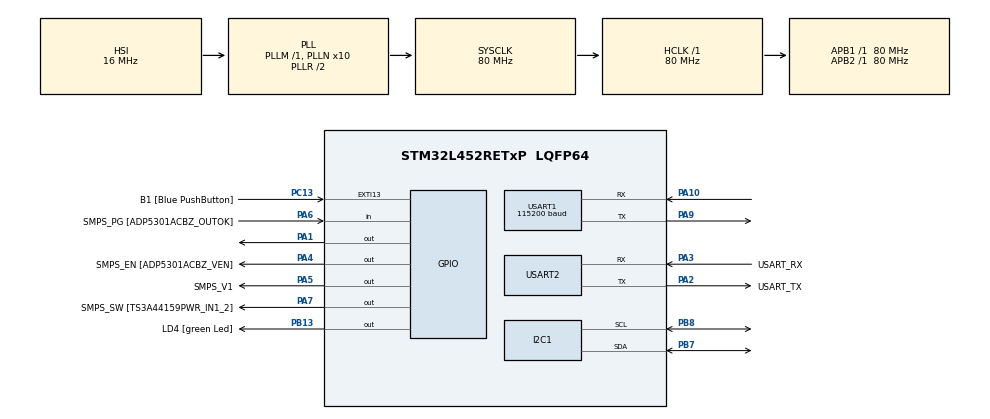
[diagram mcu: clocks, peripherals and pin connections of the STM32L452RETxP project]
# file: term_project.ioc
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I2C1.Timing=0x10909CEC
Mcu.Family=STM32L4
Mcu.Name=STM32L452RETxP
Mcu.Package=LQFP64
NVIC.EXTI15_10_IRQn=true\:0\:0\:false\:false\:true\:true\:true\:true
NVIC.PriorityGroup=NVIC_PRIORITYGROUP_4
NVIC.RCC_IRQn=true\:0\:0\:false\:false\:true\:true\:false\:true
NVIC.TIM1_UP_TIM16_IRQn=true\:0\:0\:false\:false\:true\:true\:true\:true
NVIC.USART1_IRQn=true\:0\:0\:false\:false\:true\:true\:true\:true
NVIC.USART2_IRQn=true\:0\:0\:false\:false\:true\:true\:true\:true
PA1.Signal=GPIO_Output
PA10.GPIO_Speed=GPIO_SPEED_FREQ_HIGH
PA10.Mode=Asynchronous
PA10.Signal=USART1_RX
PA13\ (JTMS/SWDIO).GPIO_Label=TMS
PA13\ (JTMS/SWDIO).Mode=Serial_Wire
PA13\ (JTMS/SWDIO).Signal=SYS_JTMS-SWDIO
PA14\ (JTCK/SWCLK).GPIO_Label=TCK
PA14\ (JTCK/SWCLK).Mode=Serial_Wire
PA14\ (JTCK/SWCLK).Signal=SYS_JTCK-SWCLK
PA2.GPIO_Label=USART_TX
PA2.GPIO_Mode=GPIO_MODE_AF_PP
PA2.GPIO_PuPd=GPIO_NOPULL
PA2.GPIO_Speed=GPIO_SPEED_FREQ_VERY_HIGH
PA2.Mode=Asynchronous
PA2.Signal=USART2_TX
PA3.GPIO_Label=USART_RX
PA3.GPIO_Mode=GPIO_MODE_AF_PP
PA3.GPIO_PuPd=GPIO_NOPULL
PA3.GPIO_Speed=GPIO_SPEED_FREQ_VERY_HIGH
PA3.Mode=Asynchronous
PA3.Signal=USART2_RX
PA4.GPIO_Label=SMPS_EN [ADP5301ACBZ_VEN]
PA4.Signal=GPIO_Output
PA5.GPIO_Label=SMPS_V1
PA5.GPIO_ModeDefaultOutputPP=GPIO_MODE_OUTPUT_PP
PA5.GPIO_PuPd=GPIO_NOPULL
PA5.GPIO_Speed=GPIO_SPEED_FREQ_LOW
PA5.Signal=GPIO_Output
PA6.GPIO_Label=SMPS_PG [ADP5301ACBZ_OUTOK]
PA6.GPIO_PuPd=GPIO_PULLUP
PA6.Signal=GPIO_Input
PA7.GPIO_Label=SMPS_SW [TS3A44159PWR_IN1_2]
PA7.Signal=GPIO_Output
PA9.GPIO_Speed=GPIO_SPEED_FREQ_HIGH
PA9.Mode=Asynchronous
PA9.Signal=USART1_TX
PB13.GPIO_Label=LD4 [green Led]
PB13.Signal=GPIO_Output
PB3\ (JTDO/TRACESWO).GPIO_Label=SWO
PB3\ (JTDO/TRACESWO).Signal=SYS_JTDO-SWO
PB7.GPIO_Pu=GPIO_PULLUP
PB7.GPIO_Speed=GPIO_SPEED_FREQ_MEDIUM
PB7.Mode=I2C
PB7.Signal=I2C1_SDA
PB8.GPIO_Pu=GPIO_PULLUP
PB8.GPIO_Speed=GPIO_SPEED_FREQ_MEDIUM
PB8.Mode=I2C
PB8.Signal=I2C1_SCL
PC13.GPIO_Label=B1 [Blue PushButton]
PC13.GPIO_ModeDefaultEXTI=GPIO_MODE_IT_FALLING
PC13.GPIO_PuPd=GPIO_NOPULL
PC13.Signal=GPXTI13
PC14-OSC32_IN\ (PC14).Mode=LSE-External-Oscillator
PC14-OSC32_IN\ (PC14).Signal=RCC_OSC32_IN
PC15-OSC32_OUT\ (PC15).Mode=LSE-External-Oscillator
PC15-OSC32_OUT\ (PC15).Signal=RCC_OSC32_OUT
PH0-OSC_IN\ (PH0).GPIO_Label=MCO
PH0-OSC_IN\ (PH0).Mode=HSE-External-Oscillator
PH0-OSC_IN\ (PH0).Signal=RCC_OSC_IN
PH1-OSC_OUT\ (PH1).Mode=HSE-External-Oscillator
PH1-OSC_OUT\ (PH1).Signal=RCC_OSC_OUT
ProjectManager.HeapSize=0x200
ProjectManager.StackSize=0x400
ProjectManager.TargetToolchain=STM32CubeIDE
RCC.ADCFreq_Value=64000000
RCC.AHBFreq_Value=80000000
RCC.APB1Freq_Value=80000000
RCC.APB1TimFreq_Value=80000000
RCC.APB2Freq_Value=80000000
RCC.APB2TimFreq_Value=80000000
RCC.CortexFreq_Value=80000000
RCC.HCLKFreq_Value=80000000
RCC.HSE_VALUE=8000000
RCC.HSI48_VALUE=48000000
RCC.HSI_VALUE=16000000
RCC.MSI_VALUE=4000000
RCC.PLLN=10
RCC.PLLSourceVirtual=RCC_PLLSOURCE_HSI
RCC.SYSCLKFreq_VALUE=80000000
RCC.SYSCLKSource=RCC_SYSCLKSOURCE_PLLCLK
RCC.USBFreq_Value=64000000
RCC.VCOOutputFreq_Value=160000000
TIM16.AutoReloadPreload=TIM_AUTORELOAD_PRELOAD_DISABLE
TIM16.Period=65536-1
TIM16.Prescaler=80-1
USART1.BaudRate=115200
USART1.VirtualMode-Asynchronous=VM_ASYNC
USART2.VirtualMode-Asynchronous=VM_ASYNC
VP_TIM16_VS_ClockSourceINT.Mode=Enable_Timer
board=NUCLEO-L452RE-P

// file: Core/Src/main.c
/* USER CODE BEGIN Header */
/**
  ******************************************************************************
  * @file           : main.c
  * @brief          : Main program body
  ******************************************************************************
  * @attention
  *
  * Copyright (c) 2023 STMicroelectronics.
  * All rights reserved.
  *
  * This software is licensed under terms that can be found in the LICENSE file
  * in the root directory of this software component.
  * If no LICENSE file comes with this software, it is provided AS-IS.
  *
  ******************************************************************************
  */
/* USER CODE END Header */
#include "main.h"

/* USER CODE BEGIN Includes */
#include <stdio.h>
#include <string.h>

#include "Timing.h"
#include "DS18B20.h"

#include "i2c_scanner.h"
#include "LCD16x2.h"
//#include "OneWire.h"
//#include "lwow/lwow.h"
/* USER CODE END Includes */

I2C_HandleTypeDef hi2c1;

TIM_HandleTypeDef htim16;

UART_HandleTypeDef huart1;
UART_HandleTypeDef huart2;

/* USER CODE BEGIN PV */
volatile uint8_t txbuf[16] = {0};
volatile uint8_t temperature_buf[6] = {0};
uint8_t newline[6] = {0};
volatile uint8_t rxbuf[4] = {0};
/* USER CODE END PV */

void SystemClock_Config(void);
static void MX_GPIO_Init(void);
static void MX_USART1_UART_Init(void);
static void MX_USART2_UART_Init(void);
static void MX_TIM16_Init(void);
static void MX_I2C1_Init(void);
/* USER CODE BEGIN PFP */
/*#ifdef __GNUC__
#define PUTCHAR_PROTOTYPE int __io_putchar(int ch)
#else
#define PUTCHAR_PROTOTYPE int fputc(int ch, FILE *f)
#endif

PUTCHAR_PROTOTYPE
{
  HAL_UART_Transmit(&huart2, (uint8_t *)&ch, 1, HAL_MAX_DELAY);
  return ch;
}*/

/* USER CODE END PFP */

/* USER CODE BEGIN 0 */
//extern float Temp[MAXDEVICES_ON_THE_BUS];
/* USER CODE END 0 */

int main(void)
{
  /* USER CODE BEGIN 1 */
	//uint16_t timer_val;
	unsigned int sec = 0;
  /* USER CODE END 1 */

  /* MCU Configuration--------------------------------------------------------*/

  /* Reset of all peripherals, Initializes the Flash interface and the Systick. */
  HAL_Init();

  /* Configure the system clock */
  SystemClock_Config();

  /* Initialize all configured peripherals */
  MX_GPIO_Init();
  MX_USART1_UART_Init();
  MX_USART2_UART_Init();
  MX_TIM16_Init();
  MX_I2C1_Init();
  /* USER CODE BEGIN 2 */

  // Start Timer
  //HAL_TIM_Base_Start_IT(&htim16);
  //HAL_TIM_Base_Start(&htim16);	// without interrupt

  // Get current time (microsecs)
  //timer_val = __HAL_TIM_GET_COUNTER(&htim16);

  TIMER timer;
  DS18B20 sensor;

  TIMER_Init(&timer, &htim16);
  DS18B20_Init(&sensor, &timer);

  int Status = 0;
  Status = scan_i2c(&huart2, &hi2c1);
  printf("Status=%d\r\n", Status);

  if (Status) {
	  lcd_init(&hi2c1);		// Initialise the LCD
	  lcd_backlight(1);		// Turn on backlight
	  lcd_clear(&hi2c1);
	  lcd_set_cursor(&hi2c1, 0, 0);
	  lcd_write_string(&hi2c1, "Board reset!");
  }

  char *LCD_text = "Hello there!";
  char int_to_str[10];
  int LCD_count = 0;

  //get_ROMid();
  /* USER CODE END 2 */

  /* Infinite loop */
  while (1)
  {

    /* USER CODE BEGIN 3 */

	  // Without interrupt
	  //timer_val = __HAL_TIM_GET_COUNTER(&htim16);
	  /*
	  if (timer_val >= 65535) {
		  HAL_GPIO_TogglePin(GPIOB, GPIO_PIN_13);
		  printf("1sec: %d\n\r", timer_val);
	  }*/

	  float temperature = DS18B20_readTemperature(&sensor);		// PA0
	  //HAL_UART_Transmit(&huart2, (uint8_t *)&temperature, 1, HAL_MAX_DELAY);
	  //printf("%u,%.2f\r\n", sec, temperature);

	  if (temperature >= 92.0) {
		  HAL_GPIO_WritePin(GPIOB, GPIO_PIN_13, GPIO_PIN_SET);
		  HAL_GPIO_WritePin(GPIOA, GPIO_PIN_1, GPIO_PIN_SET);
	  }
	  else {
		  HAL_GPIO_WritePin(GPIOB, GPIO_PIN_13, GPIO_PIN_RESET);
		  HAL_GPIO_WritePin(GPIOA, GPIO_PIN_1, GPIO_PIN_RESET);
	  }

	  sprintf((char*)txbuf, "%u,%.2f\r\n", sec, temperature);

	  // To ESP32-CAM
	  HAL_UART_Transmit_IT(&huart1, (uint8_t*)&txbuf, strlen((char*)txbuf));

	  // To console
	  HAL_UART_Transmit_IT(&huart2, (uint8_t*)&txbuf, strlen((char*)txbuf));

	  //---- LCD Display -----
	  sprintf(int_to_str, "%d", LCD_count);
	  lcd_clear(&hi2c1);
	  lcd_set_cursor(&hi2c1, 0, 0);
	  lcd_write_string(&hi2c1, "Temperature (\xDF""C)");

	  lcd_set_cursor(&hi2c1, 1, 0);
	  sprintf((char*)temperature_buf, "%.2f", temperature);
	  lcd_write_string(&hi2c1, temperature_buf);
	  LCD_count++;
	  memset(int_to_str, 0, sizeof(int_to_str));
	  //-----

	  //HAL_Delay(1);

	  HAL_UART_Receive_IT(&huart2, (uint8_t*)&rxbuf, 3);
	  //printf("%s", (char*)&rxbuf);
	  sec++;
	  HAL_Delay(200);
	  //TIMER_delayMS(&timer, 1000);						// 1s delay
  }
  /* USER CODE END 3 */
}

void SystemClock_Config(void)
{
  RCC_OscInitTypeDef RCC_OscInitStruct = {0};
  RCC_ClkInitTypeDef RCC_ClkInitStruct = {0};

  /** Configure the main internal regulator output voltage
  */
  if (HAL_PWREx_ControlVoltageScaling(PWR_REGULATOR_VOLTAGE_SCALE1) != HAL_OK)
  {
    Error_Handler();
  }

  /** Initializes the RCC Oscillators according to the specified parameters
  * in the RCC_OscInitTypeDef structure.
  */
  RCC_OscInitStruct.OscillatorType = RCC_OSCILLATORTYPE_HSI;
  RCC_OscInitStruct.HSIState = RCC_HSI_ON;
  RCC_OscInitStruct.HSICalibrationValue = 64;
  RCC_OscInitStruct.PLL.PLLState = RCC_PLL_ON;
  RCC_OscInitStruct.PLL.PLLSource = RCC_PLLSOURCE_HSI;
  RCC_OscInitStruct.PLL.PLLM = 1;
  RCC_OscInitStruct.PLL.PLLN = 10;
  RCC_OscInitStruct.PLL.PLLP = RCC_PLLP_DIV7;
  RCC_OscInitStruct.PLL.PLLQ = RCC_PLLQ_DIV2;
  RCC_OscInitStruct.PLL.PLLR = RCC_PLLR_DIV2;
  if (HAL_RCC_OscConfig(&RCC_OscInitStruct) != HAL_OK)
  {
    Error_Handler();
  }

  /** Initializes the CPU, AHB and APB buses clocks
  */
  RCC_ClkInitStruct.ClockType = RCC_CLOCKTYPE_HCLK|RCC_CLOCKTYPE_SYSCLK
                              |RCC_CLOCKTYPE_PCLK1|RCC_CLOCKTYPE_PCLK2;
  RCC_ClkInitStruct.SYSCLKSource = RCC_SYSCLKSOURCE_PLLCLK;
  RCC_ClkInitStruct.AHBCLKDivider = RCC_SYSCLK_DIV1;
  RCC_ClkInitStruct.APB1CLKDivider = RCC_HCLK_DIV1;
  RCC_ClkInitStruct.APB2CLKDivider = RCC_HCLK_DIV1;

  if (HAL_RCC_ClockConfig(&RCC_ClkInitStruct, FLASH_LATENCY_4) != HAL_OK)
  {
    Error_Handler();
  }
}

static void MX_I2C1_Init(void)
{

  hi2c1.Instance = I2C1;
  hi2c1.Init.Timing = 0x10909CEC;
  hi2c1.Init.OwnAddress1 = 0;
  hi2c1.Init.AddressingMode = I2C_ADDRESSINGMODE_7BIT;
  hi2c1.Init.DualAddressMode = I2C_DUALADDRESS_DISABLE;
  hi2c1.Init.OwnAddress2 = 0;
  hi2c1.Init.OwnAddress2Masks = I2C_OA2_NOMASK;
  hi2c1.Init.GeneralCallMode = I2C_GENERALCALL_DISABLE;
  hi2c1.Init.NoStretchMode = I2C_NOSTRETCH_DISABLE;
  if (HAL_I2C_Init(&hi2c1) != HAL_OK)
  {
    Error_Handler();
  }

  /** Configure Analogue filter
  */
  if (HAL_I2CEx_ConfigAnalogFilter(&hi2c1, I2C_ANALOGFILTER_ENABLE) != HAL_OK)
  {
    Error_Handler();
  }

  /** Configure Digital filter
  */
  if (HAL_I2CEx_ConfigDigitalFilter(&hi2c1, 0) != HAL_OK)
  {
    Error_Handler();
  }

}

static void MX_TIM16_Init(void)
{

  htim16.Instance = TIM16;
  htim16.Init.Prescaler = 80-1;
  htim16.Init.CounterMode = TIM_COUNTERMODE_UP;
  htim16.Init.Period = 65536-1;
  htim16.Init.ClockDivision = TIM_CLOCKDIVISION_DIV1;
  htim16.Init.RepetitionCounter = 0;
  htim16.Init.AutoReloadPreload = TIM_AUTORELOAD_PRELOAD_DISABLE;
  if (HAL_TIM_Base_Init(&htim16) != HAL_OK)
  {
    Error_Handler();
  }

}

static void MX_USART1_UART_Init(void)
{

  huart1.Instance = USART1;
  huart1.Init.BaudRate = 115200;
  huart1.Init.WordLength = UART_WORDLENGTH_8B;
  huart1.Init.StopBits = UART_STOPBITS_1;
  huart1.Init.Parity = UART_PARITY_NONE;
  huart1.Init.Mode = UART_MODE_TX_RX;
  huart1.Init.HwFlowCtl = UART_HWCONTROL_NONE;
  huart1.Init.OverSampling = UART_OVERSAMPLING_16;
  huart1.Init.OneBitSampling = UART_ONE_BIT_SAMPLE_DISABLE;
  huart1.AdvancedInit.AdvFeatureInit = UART_ADVFEATURE_NO_INIT;
  if (HAL_UART_Init(&huart1) != HAL_OK)
  {
    Error_Handler();
  }

}

static void MX_USART2_UART_Init(void)
{

  huart2.Instance = USART2;
  huart2.Init.BaudRate = 115200;
  huart2.Init.WordLength = UART_WORDLENGTH_8B;
  huart2.Init.StopBits = UART_STOPBITS_1;
  huart2.Init.Parity = UART_PARITY_NONE;
  huart2.Init.Mode = UART_MODE_TX_RX;
  huart2.Init.HwFlowCtl = UART_HWCONTROL_NONE;
  huart2.Init.OverSampling = UART_OVERSAMPLING_16;
  huart2.Init.OneBitSampling = UART_ONE_BIT_SAMPLE_DISABLE;
  huart2.AdvancedInit.AdvFeatureInit = UART_ADVFEATURE_NO_INIT;
  if (HAL_UART_Init(&huart2) != HAL_OK)
  {
    Error_Handler();
  }

}

static void MX_GPIO_Init(void)
{
  GPIO_InitTypeDef GPIO_InitStruct = {0};

  /* GPIO Ports Clock Enable */
  __HAL_RCC_GPIOC_CLK_ENABLE();
  __HAL_RCC_GPIOH_CLK_ENABLE();
  __HAL_RCC_GPIOA_CLK_ENABLE();
  __HAL_RCC_GPIOB_CLK_ENABLE();

  /*Configure GPIO pin Output Level */
  HAL_GPIO_WritePin(GPIOA, GPIO_PIN_1|SMPS_EN_Pin|SMPS_V1_Pin|SMPS_SW_Pin, GPIO_PIN_RESET);

  /*Configure GPIO pin Output Level */
  HAL_GPIO_WritePin(LD4_GPIO_Port, LD4_Pin, GPIO_PIN_RESET);

  /*Configure GPIO pin : B1_Pin */
  GPIO_InitStruct.Pin = B1_Pin;
  GPIO_InitStruct.Mode = GPIO_MODE_IT_FALLING;
  GPIO_InitStruct.Pull = GPIO_NOPULL;
  HAL_GPIO_Init(B1_GPIO_Port, &GPIO_InitStruct);

  /*Configure GPIO pins : PA1 SMPS_EN_Pin SMPS_V1_Pin SMPS_SW_Pin */
  GPIO_InitStruct.Pin = GPIO_PIN_1|SMPS_EN_Pin|SMPS_V1_Pin|SMPS_SW_Pin;
  GPIO_InitStruct.Mode = GPIO_MODE_OUTPUT_PP;
  GPIO_InitStruct.Pull = GPIO_NOPULL;
  GPIO_InitStruct.Speed = GPIO_SPEED_FREQ_LOW;
  HAL_GPIO_Init(GPIOA, &GPIO_InitStruct);

  /*Configure GPIO pin : SMPS_PG_Pin */
  GPIO_InitStruct.Pin = SMPS_PG_Pin;
  GPIO_InitStruct.Mode = GPIO_MODE_INPUT;
  GPIO_InitStruct.Pull = GPIO_PULLUP;
  HAL_GPIO_Init(SMPS_PG_GPIO_Port, &GPIO_InitStruct);

  /*Configure GPIO pin : LD4_Pin */
  GPIO_InitStruct.Pin = LD4_Pin;
  GPIO_InitStruct.Mode = GPIO_MODE_OUTPUT_PP;
  GPIO_InitStruct.Pull = GPIO_NOPULL;
  GPIO_InitStruct.Speed = GPIO_SPEED_FREQ_LOW;
  HAL_GPIO_Init(LD4_GPIO_Port, &GPIO_InitStruct);

  /* EXTI interrupt init*/
  HAL_NVIC_SetPriority(EXTI15_10_IRQn, 0, 0);
  HAL_NVIC_EnableIRQ(EXTI15_10_IRQn);

}

/* USER CODE BEGIN 4 */
void HAL_UART_RxCpltCallback(UART_HandleTypeDef *huart)
{
	if (huart == &huart2) {
		if ((strcmp((char*)rxbuf, "RST") == 0) || (strcmp((char*)rxbuf, "rst") == 0)) {
			NVIC_SystemReset();
		}
	}
	printf("callback!\r\n");
	HAL_UART_Receive_IT(&huart2, (uint8_t*)&rxbuf, 3);
}

/*void HAL_TIM_PeriodElapsedCallback(TIM_HandleTypeDef *htim) {
	if (htim == &htim16)
		HAL_GPIO_TogglePin(GPIOB, GPIO_PIN_13);
}*/
/* USER CODE END 4 */

void Error_Handler(void)
{
  __disable_irq();
  while (1)
  {
  }
}
